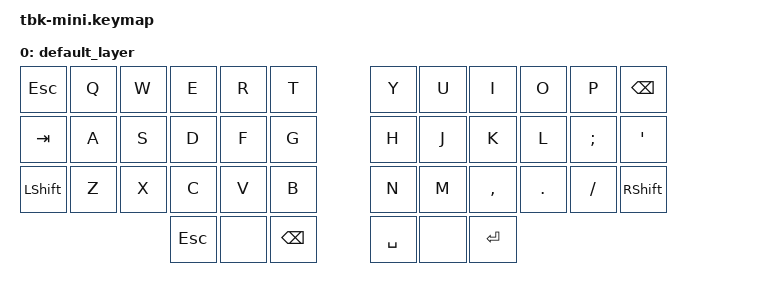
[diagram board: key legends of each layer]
#include <behaviors.dtsi>
#include <dt-bindings/zmk/keys.h>
#include <dt-bindings/zmk/bt.h>

/ {
	keymap {
		compatible = "zmk,keymap";

		default_layer {
// ------------------------------------------------------------------------------------------------------------
// |  ESC  |  Q  |  W  |  E   |  R   |  T   |                   |  Y   |  U    |  I    |  O   |   P   |  BSPC |
// |  TAB  |  A  |  S  |  D   |  F   |  G   |                   |  H   |  J    |  K    |  L   |   ;   |  QUOT |
// |  LSFT |  Z  |  X  |  C   |  V   |  B   |                   |  N   |  M    |  ,    |  .   |   /   |  RSFT |
//                     | CTRL |      | BSPC |                   | SPC  |       | ENT   |
			bindings = <
&kp ESC     &kp Q     &kp W    &kp E     &kp R     &kp T                     &kp Y     &kp U    &kp I     &kp O     &kp P    &kp BSPC   
&kp TAB     &kp A     &kp S    &kp D     &kp F     &kp G                     &kp H     &kp J    &kp K     &kp L     &kp SEMI &kp SQT 
&kp LSHFT   &kp Z     &kp X    &kp C     &kp V     &kp B                     &kp N     &kp M    &kp COMMA &kp DOT   &kp SLASH &kp RSHFT
                   &kp ESC   &none &kp BSPC                   &kp SPACE &none &kp ENTER
			>;
		};
	};
};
